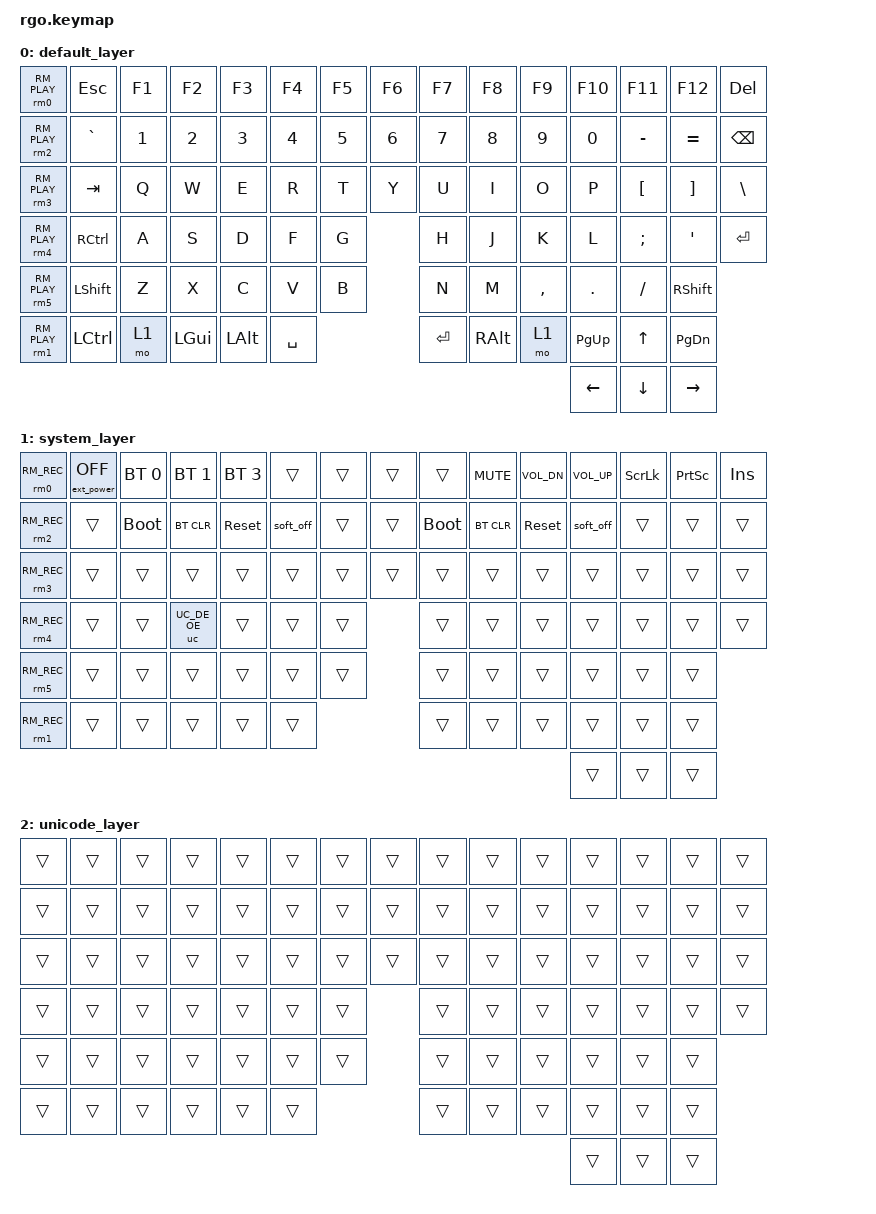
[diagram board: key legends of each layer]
#include <behaviors.dtsi>
// https://github.com/urob/zmk-unicode
#include <behaviors/unicode.dtsi>
// Record-and-play macros, see recmac/ in this repo.
// The far-left column is six slots, top to bottom: rm0 rm2 rm3 rm4 rm5 rm1.
// Fn+key records (press again to stop and save), key alone plays back.
// Use the right Fn for the top two: left Fn shares their matrix column and doesn't register with them.
#include <behaviors/recorded_macro.dtsi>
#include <dt-bindings/zmk/keys.h>
#include <dt-bindings/zmk/bt.h>
#include <dt-bindings/zmk/ext_power.h>

&uc {
  // This lets zmk-unicode use wincompose to make unicode characters
  // Advantage might be that it has to send fewer characters
  // Assumes you are running https://github.com/samhocevar/wincompose
  default-mode = <UC_MODE_WIN_COMPOSE>;
  win-compose-key = <RALT>;
};

// caps_word is not great if you are running dvorak layout on windows:
// QWERTY locations ',.; are considered non-alpha-numeric by the keyboard before dvorak resolution in the OS
// We would need to remove them from the "continue-list", but we can only add things to the continue-list:
&caps_word {
    continue-list = <UNDERSCORE MINUS COMMA DOT FSLH SEMI SQT>;
};
    

/ {
    keymap {
        compatible = "zmk,keymap";

        default_layer {
            bindings = <
            &rm0 RM_PLAY &kp ESC           &kp F1       &kp F2       &kp F3       &kp F4       &kp F5       &kp F6       &kp F7       &kp F8       &kp F9       &kp F10      &kp F11      &kp F12      &kp DEL
            &rm2 RM_PLAY &kp GRAVE         &kp N1       &kp N2       &kp N3       &kp N4       &kp N5       &kp N6       &kp N7       &kp N8       &kp N9       &kp N0       &kp MINUS    &kp EQUAL    &kp BSPC
            &rm3 RM_PLAY &kp TAB           &kp Q        &kp W        &kp E        &kp R        &kp T                     &kp Y        &kp U        &kp I        &kp O        &kp P        &kp LBKT     &kp RBKT     &kp BSLH
            &rm4 RM_PLAY &kp RCTRL         &kp A        &kp S        &kp D        &kp F        &kp G                     &kp H        &kp J        &kp K        &kp L        &kp SEMI     &kp SQT      &kp ENTER
            &rm5 RM_PLAY &kp LSHFT         &kp Z        &kp X        &kp C        &kp V        &kp B                     &kp N        &kp M        &kp COMMA    &kp DOT      &kp FSLH     &kp RSHFT
            &rm1 RM_PLAY &kp LCTRL         &mo 1        &kp LGUI     &kp LALT     &kp SPACE                              &kp ENTER    &kp RALT     &mo 1        &kp PG_UP    &kp UP       &kp PG_DN
                                                                                                                                                                &kp LEFT     &kp DOWN     &kp RIGHT
            >;
        };

        system_layer {
            bindings = <
            &rm0 RM_REC  &ext_power EP_OFF &bt BT_SEL 0 &bt BT_SEL 1 &bt BT_SEL 3 &trans       &trans       &trans       &trans       &kp C_MUTE   &kp C_VOL_DN &kp C_VOL_UP &kp SLCK     &kp PSCRN    &kp INS
            &rm2 RM_REC  &trans            &bootloader  &bt BT_CLR   &sys_reset   &soft_off    &trans       &trans       &bootloader  &bt BT_CLR   &sys_reset   &soft_off    &trans       &trans       &trans
            &rm3 RM_REC  &trans            &trans       &trans       &trans       &trans       &trans                    &trans       &trans       &trans       &trans       &trans       &trans       &trans       &trans
            &rm4 RM_REC  &trans            &trans       &uc UC_DE_OE &trans       &trans       &trans                    &trans       &trans       &trans       &trans       &trans       &trans       &trans
            &rm5 RM_REC  &trans            &trans       &trans       &trans       &trans       &trans                    &trans       &trans       &trans       &trans       &trans       &trans
            &rm1 RM_REC  &trans            &trans       &trans       &trans       &trans                                 &trans       &trans       &trans       &trans       &trans       &trans
                                                                                                                                                                &trans       &trans       &trans
            >;
        };

        unicode_layer {
            bindings = <
            &trans       &trans            &trans       &trans       &trans       &trans       &trans       &trans       &trans       &trans       &trans       &trans       &trans       &trans       &trans
            &trans       &trans            &trans       &trans       &trans       &trans       &trans       &trans       &trans       &trans       &trans       &trans       &trans       &trans       &trans
            &trans       &trans            &trans       &trans       &trans       &trans       &trans                    &trans       &trans       &trans       &trans       &trans       &trans       &trans       &trans
            &trans       &trans            &trans       &trans       &trans       &trans       &trans                    &trans       &trans       &trans       &trans       &trans       &trans       &trans
            &trans       &trans            &trans       &trans       &trans       &trans       &trans                    &trans       &trans       &trans       &trans       &trans       &trans
            &trans       &trans            &trans       &trans       &trans       &trans                                 &trans       &trans       &trans       &trans       &trans       &trans
                                                                                                                                                                &trans       &trans       &trans
            >;
            
        };
    };
};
